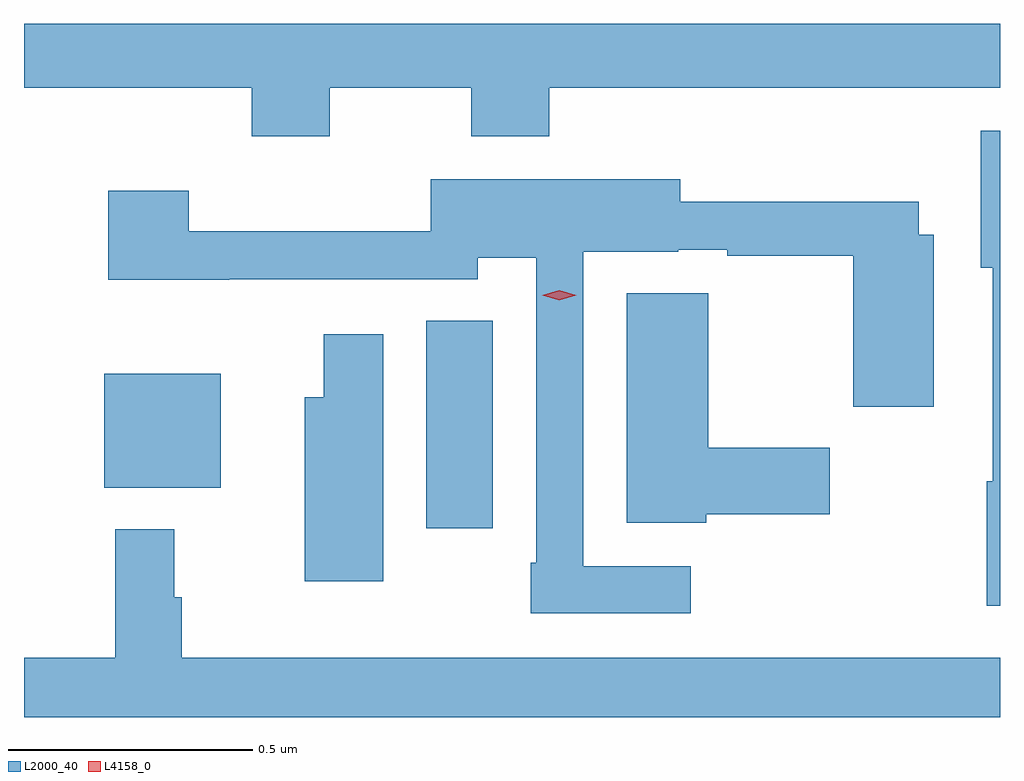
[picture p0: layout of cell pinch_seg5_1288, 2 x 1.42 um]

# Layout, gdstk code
import gdstk
lib = gdstk.Library(unit=1e-6, precision=1e-09)
def R(c, l, rs):  # rectangles x0, y0, x1, y1
    for r in rs: c.add(gdstk.rectangle(r[:2], r[2:], *l))
def P(c, l, *ps):  # polygons
    for p in ps: c.add(gdstk.Polygon(p, *l))
L2000_40 = (2000, 40)
L4158_0 = (4158, 0)

pinch_seg5_1288 = lib.new_cell('pinch_seg5_1288')
R(pinch_seg5_1288, L2000_40, [(407.552,914.466,407.689,914.891), (406.892,914.549,407.131,914.782)])
P(pinch_seg5_1288, L2000_40, [(407.355,915.368),(407.644,915.368),(407.644,915.269),(407.804,915.269),(407.804,915.368),(408.728,915.368),(408.728,915.5),(406.728,915.5),(406.728,915.368),(407.195,915.368),(407.195,915.269),(407.355,915.269)],
  [(408.728,915.28),(408.689,915.28),(408.689,915),(408.713,915),(408.713,914.562),(408.701,914.562),(408.701,914.307),(408.728,914.307)],
  [(408.094,914.388),(407.874,914.388),(407.874,915.032),(408.069,915.032),(408.069,915.036),(408.169,915.036),(408.169,915.024),(408.427,915.024),(408.427,914.715),(408.592,914.715),(408.592,915.067),(408.562,915.067),(408.562,915.135),(408.073,915.135),(408.073,915.181),(407.562,915.181),(407.562,915.074),(407.066,915.074),(407.066,915.157),(406.901,915.157),(406.901,914.975),(407.149,914.975),(407.149,914.976),(407.658,914.976),(407.658,915.02),(407.778,915.02),(407.778,914.395),(407.766,914.395),(407.766,914.292),(408.094,914.292)],
  [(408.126,914.494),(408.379,914.494),(408.379,914.631),(408.13,914.631),(408.13,914.947),(407.963,914.947),(407.963,914.477),(408.126,914.477)],
  [(407.464,914.863),(407.342,914.863),(407.342,914.734),(407.303,914.734),(407.303,914.357),(407.464,914.357)],
  [(408.728,914.2),(407.051,914.2),(407.051,914.324),(407.036,914.324),(407.036,914.464),(406.915,914.464),(406.915,914.2),(406.728,914.2),(406.728,914.078),(408.728,914.078)])
P(pinch_seg5_1288, L4158_0, [(407.825,914.933),(407.79,914.943),(407.79,914.943),(407.79,914.943),(407.825,914.953),(407.86,914.943),(407.86,914.943),(407.86,914.943)])

lib.write_gds('pinch_seg5_1288.gds')
